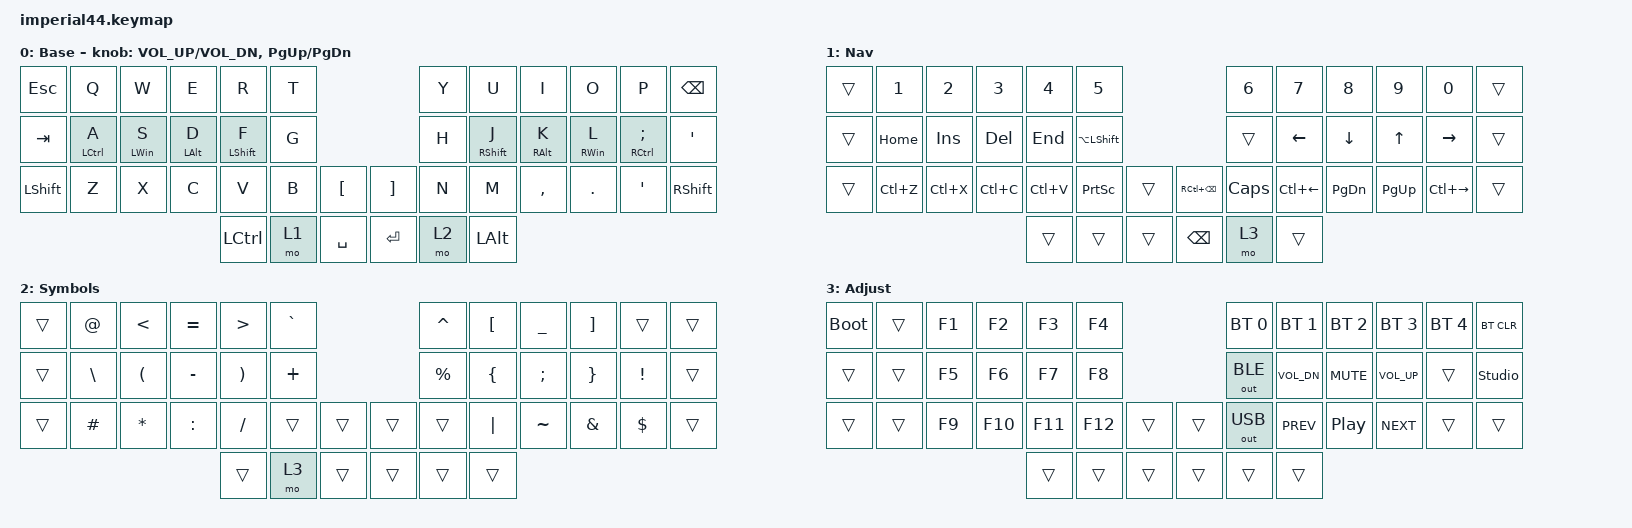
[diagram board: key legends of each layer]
#include "keys_ru.h"
#include <behaviors.dtsi>
#include <dt-bindings/zmk/bt.h>
#include <dt-bindings/zmk/keys.h>
#include <dt-bindings/zmk/outputs.h>

/ {
    behaviors {
        hrm: hrm {
            compatible = "zmk,behavior-hold-tap";
            label = "HRM";
            bindings = <&kp>, <&kp>;

            #binding-cells = <2>;
            tapping-term-ms = <200>;
            flavor = "balanced";
        };
    };

    keymap {
        compatible = "zmk,keymap";

        base {
            bindings = <
&kp ESC    &kp Q         &kp W            &kp E            &kp R              &kp T                          &kp Y  &kp U               &kp I             &kp O             &kp P            &kp BACKSPACE
&kp TAB    &hrm LCTRL A  &hrm LEFT_WIN S  &hrm LEFT_ALT D  &hrm LEFT_SHIFT F  &kp G                          &kp H  &hrm RIGHT_SHIFT J  &hrm RIGHT_ALT K  &hrm RIGHT_WIN L  &hrm RCTRL SEMI  &kp SINGLE_QUOTE
&kp LSHFT  &kp Z         &kp X            &kp C            &kp V              &kp B  &kp LBKT     &kp RBKT   &kp N  &kp M               &kp COMMA         &kp DOT           &kp SQT          &kp RSHFT
                                                           &kp LCTRL          &mo 1  &kp SPACE    &kp ENTER  &mo 2  &kp LALT
            >;

            display-name = "Base";
            sensor-bindings =
                <&inc_dec_kp C_VOL_UP C_VOL_DN>,
                <&inc_dec_kp PG_UP PG_DN>;
        };

        nav {
            bindings = <
&trans  &kp N1     &kp N2     &kp N3      &kp N4     &kp N5                                        &kp N6        &kp N7        &kp N8     &kp N9     &kp N0         &trans
&trans  &kp HOME   &kp INS    &kp DELETE  &kp END    &kp LA(LSHFT)                                 &trans        &kp LEFT      &kp DOWN   &kp UP     &kp RIGHT      &trans
&trans  &kp LC(Z)  &kp LC(X)  &kp LC(C)   &kp LC(V)  &kp PRINTSCREEN  &trans    &kp RC(BACKSPACE)  &kp CAPSLOCK  &kp LC(LEFT)  &kp PG_DN  &kp PG_UP  &kp LC(RIGHT)  &trans
                                          &trans     &trans           &trans    &kp BACKSPACE      &mo 3         &trans
            >;

            display-name = "Nav";
        };

        sym {
            bindings = <
&trans  &kp AT    &kp LT    &kp EQUAL  &kp GT    &kp GRAVE                    &kp CARET  &kp LBKT  &kp UNDER  &kp RBKT  &trans    &trans
&trans  &kp BSLH  &kp LPAR  &kp MINUS  &kp RPAR  &kp PLUS                     &kp PRCNT  &kp LBRC  &kp SEMI   &kp RBRC  &kp EXCL  &trans
&trans  &kp HASH  &kp STAR  &kp COLON  &kp FSLH  &trans     &trans    &trans  &trans     &kp PIPE  &kp TILDE  &kp AMPS  &kp DLLR  &trans
                                       &trans    &mo 3      &trans    &trans  &trans     &trans
            >;

            display-name = "Symbols";
        };

        adj {
            bindings = <
&bootloader  &trans  &kp F1  &kp F2   &kp F3   &kp F4                     &bt BT_SEL 0  &bt BT_SEL 1  &bt BT_SEL 2      &bt BT_SEL 3  &bt BT_SEL 4  &bt BT_CLR
&trans       &trans  &kp F5  &kp F6   &kp F7   &kp F8                     &out OUT_BLE  &kp C_VOL_DN  &kp C_MUTE        &kp C_VOL_UP  &trans        &studio_unlock
&trans       &trans  &kp F9  &kp F10  &kp F11  &kp F12  &trans    &trans  &out OUT_USB  &kp C_PREV    &kp C_PLAY_PAUSE  &kp C_NEXT    &trans        &trans
                                      &trans   &trans   &trans    &trans  &trans        &trans
            >;

            display-name = "Adjust";
        };
    };
};
